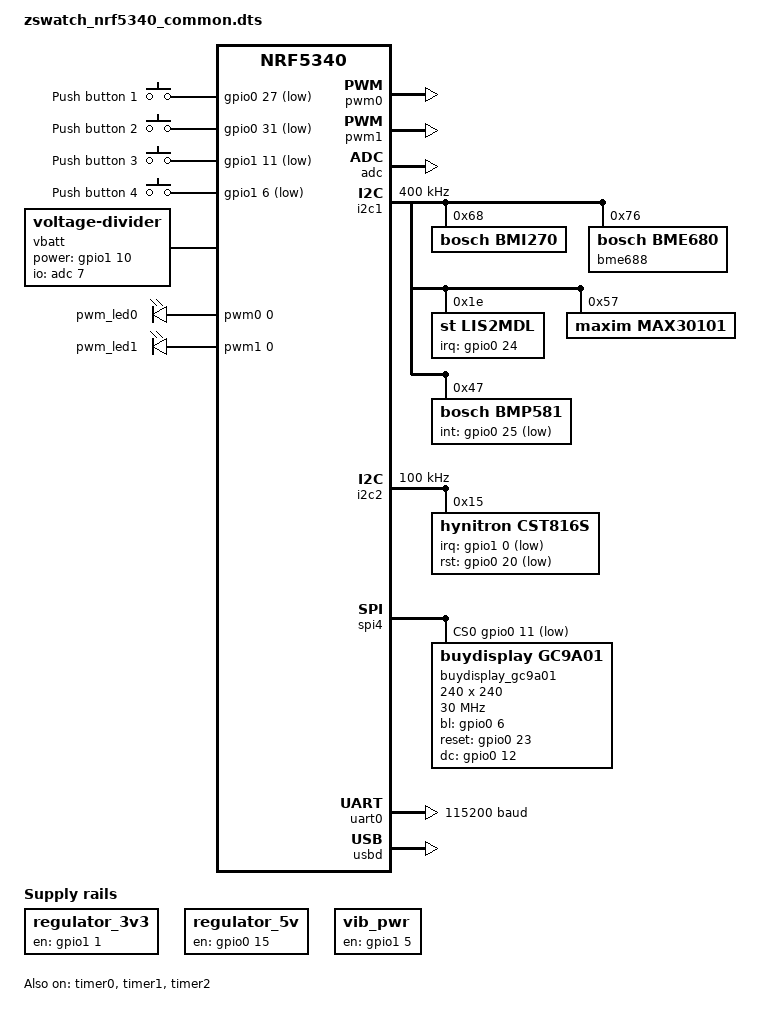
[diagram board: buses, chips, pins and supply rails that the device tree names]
/*
 * Copyright (c) 2023 Jakob Krantz
 *
 * SPDX-License-Identifier: Apache-2.0
 */
#include "zswatch_nrf5340_common-pinctrl.dtsi"

/ {
    chosen {
        zephyr,console = &uart0;
        zephyr,shell-uart = &uart0;
        zephyr,uart-mcumgr = &uart0;
        zephyr,bt-mon-uart = &uart0;
        zephyr,bt-c2h-uart = &uart0;
        zephyr,bt-hci-rpmsg-ipc = &ipc0;
        zephyr,ieee802154 = &ieee802154;
        zephyr,display = &gc9a01;
        zephyr,keyboard-scan = &cst816s;
    };

    buttons {
        compatible = "gpio-keys";
        button0: button_0 {
            gpios = <&gpio0 27 (GPIO_PULL_UP | GPIO_ACTIVE_LOW)>;
            label = "Push button 1";
        };
        button1: button_1 {
            gpios = <&gpio0 31 (GPIO_PULL_UP | GPIO_ACTIVE_LOW)>;
            label = "Push button 2";
        };
        button2: button_2 {
            gpios = <&gpio1 11 (GPIO_PULL_UP | GPIO_ACTIVE_LOW)>;
            label = "Push button 3";
        };
        button3: button_3 {
            gpios = <&gpio1 6 (GPIO_PULL_UP | GPIO_ACTIVE_LOW)>;
            label = "Push button 4";
        };
    };

    vbatt {
        compatible = "voltage-divider";
        io-channels = <&adc 7>;
        output-ohms = <220000>;
        full-ohms = <(1500000 + 220000)>;
        power-gpios = <&gpio1 10 0>;
    };

    regulator_3v3: regulator-3v3-ctrl {
        compatible = "regulator-fixed";
        label = "vsys-3v3-ctrl";
        regulator-name = "display";
        enable-gpios = <&gpio1 1 GPIO_ACTIVE_HIGH>;
        regulator-boot-on;
    };

    regulator_5v: regulator-5v-ctrl {
        compatible = "regulator-fixed";
        label = "vsys-5v-ctrl";
        regulator-name = "max30101";
        enable-gpios = <&gpio0 15 GPIO_ACTIVE_HIGH>;
    };

    vib_pwr: vib-pwr-ctrl {
        compatible = "regulator-fixed";
        label = "vib-pwr-ctrl";
        regulator-name = "vib-pwr-ctrl";
        enable-gpios = <&gpio1 5 GPIO_ACTIVE_HIGH>;
    };

    pwmleds {
        compatible = "pwm-leds";
        pwm_led0: pwm_led_0 {
            pwms = <&pwm0 0 PWM_MSEC(20) PWM_POLARITY_INVERTED>;
        };
        pwm_led1: pwm_led_1 {
            pwms = <&pwm1 0 PWM_MSEC(20) 0>;
        };
    };

    aliases {
        pwm-led0 = &pwm_led0;
        pwm-led1 = &pwm_led1;
        sw0 = &button0;
        sw1 = &button1;
        sw2 = &button2;
        sw3 = &button3;
        sw-top-right = &button1;
        sw-top-left = &button2;
        sw-bottom-right = &button3;
        sw-bottom-left = &button0;
        magn = &lis2mdl;
        watchdog0 = &wdt0;
        accel = &bmi270;
        mcuboot-button0 = &button1;
        kscan0 = &cst816s;
    };
};

&pwm0 {
    status = "okay";
    pinctrl-0 = <&pwm0_default>;
    pinctrl-1 = <&pwm0_sleep>;
    pinctrl-names = "default", "sleep";
};

&pwm1 {
    status = "okay";
    pinctrl-0 = <&pwm1_default>;
    pinctrl-1 = <&pwm1_sleep>;
    pinctrl-names = "default", "sleep";
};

&adc {
    status = "okay";
};

&gpiote {
    status = "okay";
};

&gpio0 {
    status = "okay";
};

&gpio1 {
    status = "okay";
};

&i2c1 {
    compatible = "nordic,nrf-twim";
    status = "okay";
    clock-frequency = <I2C_BITRATE_FAST>;
    zephyr,concat-buf-size = <512>;

    pinctrl-0 = <&i2c1_default>;
    pinctrl-1 = <&i2c1_sleep>;
    pinctrl-names = "default", "sleep";
    
    bmi270: bmi270@68 {
        compatible = "bosch,bmi270";
        reg = <0x68>;
        //irq-gpios = <&gpio0 7 GPIO_ACTIVE_HIGH &gpio0 21 GPIO_ACTIVE_HIGH>;
    };

    bme688: bme688@76 {
        compatible = "bosch,bme680";
        reg = <0x76>;
    };

    lis2mdl: lis2mdl@1e {
        compatible = "st,lis2mdl";
        reg = <0x1e>;
        irq-gpios = <&gpio0 24 0>;
    };

    max30101@57 {
        status = "okay";
        compatible = "maxim,max30101";
        reg = <0x57>;
        //irq-gpios = <&gpio0 22 GPIO_ACTIVE_HIGH;
    };

    
    //Need https://github.com/zephyrproject-rtos/zephyr/pull/51849
    bmp581: bmp581@47 {
        compatible = "bosch,bmp581";
        reg = <0x47>;
        int-gpios = <&gpio0 25 (GPIO_PULL_UP | GPIO_ACTIVE_LOW)>;
    };
};

&i2c2 {
    compatible = "nordic,nrf-twim";
    status = "okay";
    clock-frequency = <I2C_BITRATE_STANDARD>;

    pinctrl-0 = <&i2c2_default>;
    pinctrl-1 = <&i2c2_sleep>;
    pinctrl-names = "default", "sleep";

    cst816s: cst816s@15 {
		compatible = "hynitron,cst816s";
		reg = <0x15>;
		irq-gpios = <&gpio1 0 GPIO_ACTIVE_LOW>;
		rst-gpios = <&gpio0 20 GPIO_ACTIVE_LOW>;
	};
};

&spi4  {
    status = "okay";
    compatible = "nordic,nrf-spim";
    pinctrl-0 = <&spi4_default>;
    pinctrl-1 = <&spi4_sleep>;
    pinctrl-names = "default", "sleep";
    cs-gpios = <&gpio0 11 GPIO_ACTIVE_LOW>;

    gc9a01: gc9a01@0 {
        compatible = "buydisplay,gc9a01";
        status = "okay";
        spi-max-frequency = <30000000>;
        reg = <0>;
        width = <240>;
        label = "buydisplay_gc9a01";
        height = <240>;
        bl-gpios = <&gpio0 6 GPIO_ACTIVE_HIGH>;
        reset-gpios = <&gpio0 23 GPIO_ACTIVE_HIGH>;
        dc-gpios = <&gpio0 12 GPIO_ACTIVE_HIGH>;
    };

};

/* UART0 GPIOs can be configured for other use-cases */
&uart0 {
    current-speed = <115200>;
    status = "okay";
    pinctrl-0 = <&uart0_default>;
    pinctrl-1 = <&uart0_sleep>;
    pinctrl-names = "default", "sleep";
};

&timer0 {
    status = "okay";
};

&timer1 {
    status = "okay";
};

&timer2 {
    status = "okay";
};

&flash0 {
    partitions {
        compatible = "fixed-partitions";
        #address-cells = <1>;
        #size-cells = <1>;

        boot_partition: partition@0 {
            label = "mcuboot";
            reg = <0x00000000 0x00010000>;
        };
        slot0_partition: partition@10000 {
            label = "image-0";
        };
        slot0_ns_partition: partition@50000 {
            label = "image-0-nonsecure";
        };
        slot1_partition: partition@80000 {
            label = "image-1";
        };
        slot1_ns_partition: partition@c0000 {
            label = "image-1-nonsecure";
        };
        scratch_partition: partition@f0000 {
            label = "image-scratch";
            reg = <0x000f0000 0xa000>;
        };
        storage_partition: partition@fa000 {
            label = "storage";
            reg = <0x000fa000 0x00006000>;
        };
    };
};

zephyr_udc0: &usbd {
    compatible = "nordic,nrf-usbd";
    status = "okay";
};

/ {

    reserved-memory {
        #address-cells = <1>;
        #size-cells = <1>;
        ranges;

        sram0_image: image@20000000 {
            /* Zephyr image(s) memory */
        };

        sram0_s: image_s@20000000 {
            /* Secure image memory */
        };

        sram0_ns: image_ns@20040000 {
            /* Non-Secure image memory */
        };
    };
};

/* Include partition configuration file */
#include "zswatch_nrf5340_partition_conf.dts"
